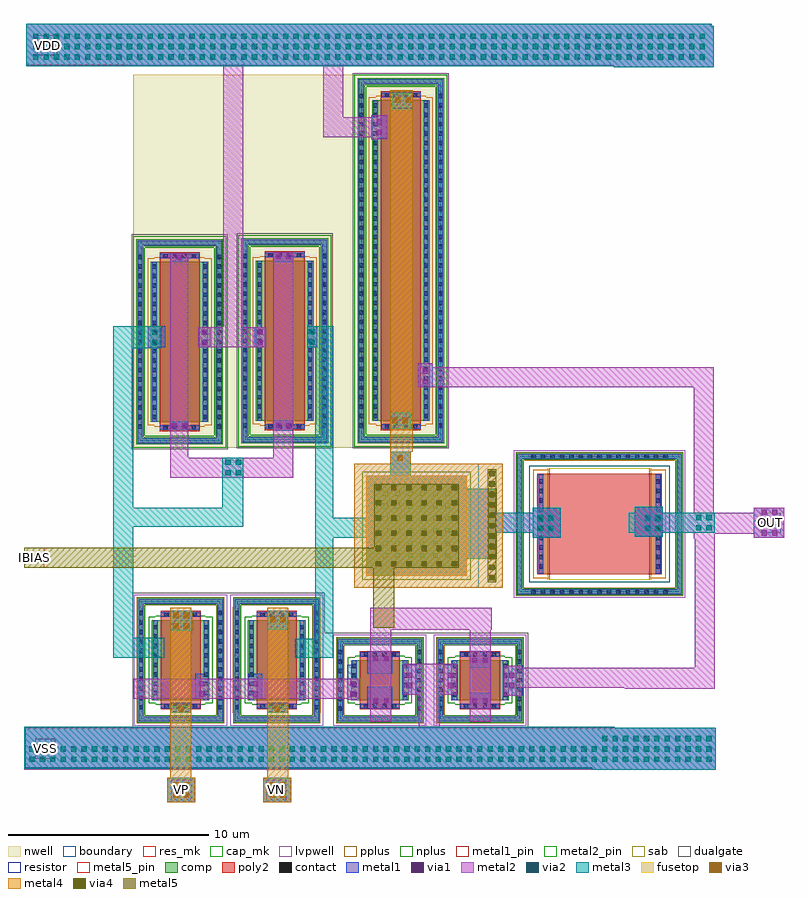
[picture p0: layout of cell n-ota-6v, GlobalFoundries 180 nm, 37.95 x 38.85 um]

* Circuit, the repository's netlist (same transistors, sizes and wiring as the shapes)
* NGSPICE file created from n-ota-6v.ext - technology: gf180mcuD

.subckt ppolyf_u_1k_5LKHFB a_n712_n834# a_n500_500# a_n500_n622#
X0 a_n500_500# a_n500_n622# a_n712_n834# ppolyf_u_1k r_width=5u r_length=5u
.ends

.subckt nfet_06v0_RPRB9G a_n432_n624# a_n288_n400# a_n200_n492# a_200_n400#
X0 a_200_n400# a_n200_n492# a_n288_n400# a_n432_n624# nfet_06v0 ad=1.76p pd=8.88u as=1.76p ps=8.88u w=4u l=2u
.ends

.subckt pfet_06v0_CJMVWK a_n288_n800# a_n200_n892# a_200_n800# w_n464_n1056#
X0 a_200_n800# a_n200_n892# a_n288_n800# w_n464_n1056# pfet_06v0 ad=3.52p pd=16.88u as=3.52p ps=16.88u w=8u l=2u
.ends

.subckt nfet_06v0_RPRB9L a_n288_n200# a_n200_n292# a_200_n200# a_n432_n424#
X0 a_200_n200# a_n200_n292# a_n288_n200# a_n432_n424# nfet_06v0 ad=0.88p pd=4.88u as=0.88p ps=4.88u w=2u l=2u
.ends

.subckt pfet_06v0_EQGVWK a_200_n1600# a_n288_n1600# a_n200_n1692# w_n464_n1856#
X0 a_200_n1600# a_n200_n1692# a_n288_n1600# w_n464_n1856# pfet_06v0 ad=7.04p pd=32.88u as=7.04p ps=32.88u w=16u l=2u
.ends

.subckt cap_mim_2p0fF_ZHL43H m4_n620_n500# m4_n740_n620#
X0 m4_n620_n500# m4_n740_n620# cap_mim_2f0_m4m5_noshield c_width=5u c_length=5u
.ends

.subckt n-ota-6v OUT VSS VDD VN VP IBIAS
XXR1 OUT m1_6210_1510# m1_5190_1500# ppolyf_u_1k_5LKHFB
XM1 OUT M1/a_n288_n400# m1_1570_570# m1_1820_n110# nfet_06v0_RPRB9G
XM2 OUT m1_1820_n110# m1_2540_580# M2/a_200_n400# nfet_06v0_RPRB9G
XM3 m1_1850_3400# m1_1570_2580# m1_2940_3400# w_1200_2400# pfet_06v0_CJMVWK
XM4 m1_1820_n110# m1_3540_n210# OUT OUT nfet_06v0_RPRB9L
XM5 m1_1350_3400# m1_1570_2580# m1_1850_3400# w_1200_2400# pfet_06v0_CJMVWK
XM6 OUT m1_3540_n210# OUT OUT nfet_06v0_RPRB9L
XM7 OUT m1_1850_3400# m1_3790_5790# w_1200_2400# pfet_06v0_EQGVWK
Xcap_mim_2p0fF_ZHL43H_0 IBIAS m2_2940_3400# cap_mim_2p0fF_ZHL43H
.ends

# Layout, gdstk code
from math import pi, radians
import gdstk
lib = gdstk.Library(unit=1e-6, precision=1e-09)
def R(c, l, rs):  # rectangles x0, y0, x1, y1
    for r in rs: c.add(gdstk.rectangle(r[:2], r[2:], *l))
def A(c, l, x, y, w, h, nx, ny, dx, dy):  # array of equal rectangles
    R(c, l, [(x+i*dx, y+j*dy, x+i*dx+w, y+j*dy+h) for i in range(nx) for j in range(ny)])
boundary = (0, 0)
nwell = (21, 0)
comp = (22, 0)
poly2 = (30, 0)
pplus = (31, 0)
nplus = (32, 0)
contact = (33, 0)
metal1 = (34, 0)
metal1_pin = (34, 10)
via1 = (35, 0)
metal2 = (36, 0)
metal2_pin = (36, 10)
via2 = (38, 0)
via3 = (40, 0)
via4 = (41, 0)
metal3 = (42, 0)
metal4 = (46, 0)
sab = (49, 0)
dualgate = (55, 0)
resistor = (62, 0)
fusetop = (75, 0)
metal5 = (81, 0)
metal5_pin = (81, 10)
res_mk = (110, 5)
cap_mk = (117, 5)
lvpwell = (204, 0)

nfet_06v0_rprb9g = lib.new_cell('nfet_06v0_RPRB9G')
R(nfet_06v0_rprb9g, boundary, [(-1.98,-2.94,1.98,2.94)])
R(nfet_06v0_rprb9g, comp, [(-2.16,-3.12,2.16,-2.76), (-2.16,-2.76,-1.8,2.76), (1.8,-2.76,2.16,2.76), (-1.44,-2,1.44,2), (-2.16,2.76,2.16,3.12)])
R(nfet_06v0_rprb9g, poly2, [(-1,-2.46,1,2.46)])
R(nfet_06v0_rprb9g, pplus, [(-2.18,-3.14,2.18,-2.74), (-2.18,-2.74,-1.77,-2.635), (1.77,-2.74,2.18,-2.635), (-2.19,-2.635,-1.77,2.635), (1.77,-2.635,2.19,2.635), (-2.18,2.635,-1.77,2.74), (1.77,2.635,2.18,2.74), (-2.18,2.74,2.18,3.14)])
R(nfet_06v0_rprb9g, nplus, [(-1.23,-2.23,1.23,-2.16), (-1.6,-2.16,1.6,2.16), (-1.23,2.16,1.23,2.23)])
A(nfet_06v0_rprb9g, contact, -2.09, -2.46, 0.22, 0.22, 1, 11, 0, 0.47)
A(nfet_06v0_rprb9g, contact, 1.87, -2.46, 0.22, 0.22, 1, 11, 0, 0.47)
A(nfet_06v0_rprb9g, contact, -0.815, -2.39, 0.22, 0.22, 4, 2, 0.47, 4.56)
A(nfet_06v0_rprb9g, contact, -1.37, -1.755, 0.22, 0.22, 1, 8, 0, 0.47)
A(nfet_06v0_rprb9g, contact, 1.15, -1.755, 0.22, 0.22, 1, 8, 0, 0.47)
R(nfet_06v0_rprb9g, metal1, [(-2.095,-3.055,2.095,-2.825), (-2.095,-2.825,-1.865,2.825), (1.865,-2.825,2.095,2.825), (-0.99,-2.395,0.99,-2.165), (-1.375,-1.99,-1.145,1.99), (1.145,-1.99,1.375,1.99), (-0.99,2.165,0.99,2.395), (-2.095,2.825,2.095,3.055)])
R(nfet_06v0_rprb9g, dualgate, [(-2.4,-3.36,2.4,3.36)])
R(nfet_06v0_rprb9g, lvpwell, [(-2.32,-3.28,2.32,3.28)])

pfet_06v0_cjmvwk = lib.new_cell('pfet_06v0_CJMVWK')
R(pfet_06v0_cjmvwk, boundary, [(-1.98,-4.94,1.98,4.94)])
R(pfet_06v0_cjmvwk, nwell, [(-2.32,-5.28,2.32,5.28)])
R(pfet_06v0_cjmvwk, comp, [(-2.16,-5.12,2.16,-4.76), (-2.16,-4.76,-1.8,4.76), (1.8,-4.76,2.16,4.76), (-1.44,-4,1.44,4), (-2.16,4.76,2.16,5.12)])
R(pfet_06v0_cjmvwk, poly2, [(-1,-4.46,1,4.46)])
R(pfet_06v0_cjmvwk, pplus, [(-1.23,-4.23,1.23,-4.16), (-1.6,-4.16,1.6,4.16), (-1.23,4.16,1.23,4.23)])
R(pfet_06v0_cjmvwk, nplus, [(-2.32,-5.28,2.32,-4.69), (-2.32,-4.69,-1.73,4.69), (1.73,-4.69,2.32,4.69), (-2.32,4.69,2.32,5.28)])
A(pfet_06v0_cjmvwk, contact, -0.815, -4.39, 0.22, 0.22, 4, 2, 0.47, 8.56)
A(pfet_06v0_cjmvwk, contact, -2.09, -4.34, 0.22, 0.22, 1, 19, 0, 0.47)
A(pfet_06v0_cjmvwk, contact, 1.87, -4.34, 0.22, 0.22, 1, 19, 0, 0.47)
A(pfet_06v0_cjmvwk, contact, -1.37, -3.87, 0.22, 0.22, 1, 17, 0, 0.47)
A(pfet_06v0_cjmvwk, contact, 1.15, -3.87, 0.22, 0.22, 1, 17, 0, 0.47)
R(pfet_06v0_cjmvwk, metal1, [(-2.095,-5.055,2.095,-4.825), (-2.095,-4.825,-1.865,4.825), (1.865,-4.825,2.095,4.825), (-0.99,-4.395,0.99,-4.165), (-1.375,-3.99,-1.145,3.99), (1.145,-3.99,1.375,3.99), (-0.99,4.165,0.99,4.395), (-2.095,4.825,2.095,5.055)])
R(pfet_06v0_cjmvwk, dualgate, [(-2.4,-5.36,2.4,5.36)])

cap_mim_2p0ff_zhl43h = lib.new_cell('cap_mim_2p0fF_ZHL43H')
R(cap_mim_2p0ff_zhl43h, boundary, [(-3.7,-3.1,2.5,3.1)])
A(cap_mim_2p0ff_zhl43h, via4, 3.04, -2.73, 0.26, 0.26, 1, 11, 0, 0.52)
A(cap_mim_2p0ff_zhl43h, via4, -2.63, -2.03, 0.26, 0.26, 6, 6, 0.76, 0.76)
R(cap_mim_2p0ff_zhl43h, metal4, [(-3.7,-3.1,3.7,3.1)])
R(cap_mim_2p0ff_zhl43h, fusetop, [(-3.1,-2.5,1.9,2.5)])
R(cap_mim_2p0ff_zhl43h, metal5, [(2.95,-2.815,3.39,2.815), (-2.7,-2.1,1.5,2.1)])
R(cap_mim_2p0ff_zhl43h, cap_mk, [(-3.3,-2.7,2.1,2.7)])

nfet_06v0_rprb9l = lib.new_cell('nfet_06v0_RPRB9L')
R(nfet_06v0_rprb9l, boundary, [(-1.98,-1.94,1.98,1.94)])
R(nfet_06v0_rprb9l, comp, [(-2.16,-2.12,2.16,-1.76), (-2.16,-1.76,-1.8,1.76), (1.8,-1.76,2.16,1.76), (-1.44,-1,1.44,1), (-2.16,1.76,2.16,2.12)])
R(nfet_06v0_rprb9l, poly2, [(-1,-1.46,1,1.46)])
R(nfet_06v0_rprb9l, pplus, [(-2.18,-2.14,2.18,-1.74), (-2.18,-1.74,-1.77,-1.635), (1.77,-1.74,2.18,-1.635), (-2.19,-1.635,-1.77,1.635), (1.77,-1.635,2.19,1.635), (-2.18,1.635,-1.77,1.74), (1.77,1.635,2.18,1.74), (-2.18,1.74,2.18,2.14)])
R(nfet_06v0_rprb9l, nplus, [(-1.23,-1.23,1.23,-1.16), (-1.6,-1.16,1.6,1.16), (-1.23,1.16,1.23,1.23)])
A(nfet_06v0_rprb9l, contact, -2.09, -1.52, 0.22, 0.22, 1, 7, 0, 0.47)
A(nfet_06v0_rprb9l, contact, 1.87, -1.52, 0.22, 0.22, 1, 7, 0, 0.47)
A(nfet_06v0_rprb9l, contact, -0.815, -1.39, 0.22, 0.22, 4, 2, 0.47, 2.56)
A(nfet_06v0_rprb9l, contact, -1.37, -0.815, 0.22, 0.22, 1, 4, 0, 0.47)
A(nfet_06v0_rprb9l, contact, 1.15, -0.815, 0.22, 0.22, 1, 4, 0, 0.47)
R(nfet_06v0_rprb9l, metal1, [(-2.095,-2.055,2.095,-1.825), (-2.095,-1.825,-1.865,1.825), (1.865,-1.825,2.095,1.825), (-0.99,-1.395,0.99,-1.165), (-1.375,-0.99,-1.145,0.99), (1.145,-0.99,1.375,0.99), (-0.99,1.165,0.99,1.395), (-2.095,1.825,2.095,2.055)])
R(nfet_06v0_rprb9l, dualgate, [(-2.4,-2.36,2.4,2.36)])
R(nfet_06v0_rprb9l, lvpwell, [(-2.32,-2.28,2.32,2.28)])

pfet_06v0_eqgvwk = lib.new_cell('pfet_06v0_EQGVWK')
R(pfet_06v0_eqgvwk, boundary, [(-1.98,-8.94,1.98,8.94)])
R(pfet_06v0_eqgvwk, nwell, [(-2.32,-9.28,2.32,9.28)])
R(pfet_06v0_eqgvwk, comp, [(-2.16,-9.12,2.16,-8.76), (-2.16,-8.76,-1.8,8.76), (1.8,-8.76,2.16,8.76), (-1.44,-8,1.44,8), (-2.16,8.76,2.16,9.12)])
R(pfet_06v0_eqgvwk, poly2, [(-1,-8.46,1,8.46)])
R(pfet_06v0_eqgvwk, pplus, [(-1.23,-8.23,1.23,-8.16), (-1.6,-8.16,1.6,8.16), (-1.23,8.16,1.23,8.23)])
R(pfet_06v0_eqgvwk, nplus, [(-2.32,-9.28,2.32,-8.69), (-2.32,-8.69,-1.73,8.69), (1.73,-8.69,2.32,8.69), (-2.32,8.69,2.32,9.28)])
A(pfet_06v0_eqgvwk, contact, -0.815, -8.39, 0.22, 0.22, 4, 2, 0.47, 16.56)
A(pfet_06v0_eqgvwk, contact, -2.09, -8.335, 0.22, 0.22, 1, 36, 0, 0.47)
A(pfet_06v0_eqgvwk, contact, 1.87, -8.335, 0.22, 0.22, 1, 36, 0, 0.47)
A(pfet_06v0_eqgvwk, contact, -1.37, -7.865, 0.22, 0.22, 1, 34, 0, 0.47)
A(pfet_06v0_eqgvwk, contact, 1.15, -7.865, 0.22, 0.22, 1, 34, 0, 0.47)
R(pfet_06v0_eqgvwk, metal1, [(-2.095,-9.055,2.095,-8.825), (-2.095,-8.825,-1.865,8.825), (1.865,-8.825,2.095,8.825), (-0.99,-8.395,0.99,-8.165), (-1.375,-7.99,-1.145,7.99), (1.145,-7.99,1.375,7.99), (-0.99,8.165,0.99,8.395), (-2.095,8.825,2.095,9.055)])
R(pfet_06v0_eqgvwk, dualgate, [(-2.4,-9.36,2.4,9.36)])

ppolyf_u_1k_5lkhfb = lib.new_cell('ppolyf_u_1k_5LKHFB')
R(ppolyf_u_1k_5lkhfb, boundary, [(-3.38,-3.99,3.38,3.99)])
R(ppolyf_u_1k_5lkhfb, comp, [(-3.56,-4.17,3.56,-3.81), (-3.56,-3.81,-3.2,3.81), (3.2,-3.81,3.56,3.81), (-3.56,3.81,3.56,4.17)])
R(ppolyf_u_1k_5lkhfb, poly2, [(-2.5,-3.11,2.5,3.11)])
R(ppolyf_u_1k_5lkhfb, pplus, [(-3.58,-4.19,3.58,-3.79), (-3.58,-3.79,-3.17,-3.685), (3.17,-3.79,3.58,-3.685), (-3.59,-3.685,-3.17,3.685), (3.17,-3.685,3.59,3.685), (-2.7,-3.31,2.7,-2.5), (-2.7,2.5,2.7,3.31), (-3.58,3.685,-3.17,3.79), (3.17,3.685,3.58,3.79), (-3.58,3.79,3.58,4.19)])
A(ppolyf_u_1k_5lkhfb, contact, -3.49, -3.4, 0.22, 0.22, 1, 15, 0, 0.47)
A(ppolyf_u_1k_5lkhfb, contact, 3.27, -3.4, 0.22, 0.22, 1, 15, 0, 0.47)
A(ppolyf_u_1k_5lkhfb, contact, -2.225, -3.04, 0.22, 0.22, 10, 2, 0.47, 5.86)
R(ppolyf_u_1k_5lkhfb, metal1, [(-3.495,-4.105,3.495,-3.875), (-3.495,-3.875,-3.265,3.875), (3.265,-3.875,3.495,3.875), (-2.49,-3.045,2.49,-2.815), (-2.49,2.815,2.49,3.045), (-3.495,3.875,3.495,4.105)])
R(ppolyf_u_1k_5lkhfb, sab, [(-2.78,-2.6,2.78,2.6), (-2.78,-2.5,2.78,2.5)])
R(ppolyf_u_1k_5lkhfb, resistor, [(-2.9,-3.51,2.9,3.51)])
R(ppolyf_u_1k_5lkhfb, res_mk, [(-2.78,-2.5,2.78,2.5), (-2.5,-2.5,2.5,2.5)])
R(ppolyf_u_1k_5lkhfb, lvpwell, [(-3.68,-4.29,3.68,4.29)])

n_ota_6v = lib.new_cell('n-ota-6v')
R(n_ota_6v, nwell, [(6,12,21.69,30.61)])
R(n_ota_6v, metal1, [(7.7,-5.7,9.1,-4.5), (12.5,-5.7,13.9,-4.5), (28.95,-4.1,35.1,-4), (0.6,-4,35.1,-2), (7.85,-1.2,8.9,-0.75), (12.7,-1.2,13.75,-0.75), (17.7,-1.05,18.95,0.05), (22.8,-1.05,23.85,-0.25), (16.7,-0.6,17,-0.55), (9.1,-0.55,9.75,0.7), (11.75,-0.55,12.45,0.7), (16.7,-0.55,17.3,0.45), (24.5,-0.4,25.45,1.1), (19.45,-0.35,20.4,1.15), (21.25,-0.35,22.2,1.15), (16.7,0.45,17.15,1.15), (17.7,0.7,18.95,1.8), (22.8,1,23.85,1.8), (7.85,2.85,8.95,3.85), (12.7,2.9,13.75,3.85), (17.65,5.6,22.65,10.6), (25.95,7.5,27.35,9), (37,7.5,38.5,9), (31.05,7.55,32.45,9.05), (18.85,10.6,19.85,11.8), (13,12.85,14,13.35), (7.85,12.9,8.75,13.3), (18.85,12.95,19.85,13.75), (20.2,15,20.95,16.2), (6.75,17,7.6,18.05), (9.25,17,9.85,18), (12.05,17,12.65,18), (14.7,17,15.2,18.05), (13,21.25,14,21.75), (7.85,21.3,8.75,21.7), (17.9,27.45,18.7,28.6), (18.95,28.95,19.95,29.75), (30,31,35,31.1), (0.65,31.1,35,33.05), (0.65,33.05,34.9,33.15)])
R(n_ota_6v, metal1_pin, [(7.9,-5.6,8.9,-4.6), (12.65,-5.6,13.65,-4.6), (1.1,-3.55,2.1,-2.55), (1.2,31.6,2.2,32.6)])
A(n_ota_6v, via1, 37.385, 7.6, 0.26, 0.26, 1, 3, 0, 0.52)
A(n_ota_6v, via1, 37.905, 7.6, 0.26, 0.26, 1, 3, 0, 0.52)
R(n_ota_6v, via1, [(17.985,-0.78,18.245,-0.52), (18.505,-0.78,18.765,-0.52), (22.935,-0.78,23.195,-0.52), (23.455,-0.78,23.715,-0.52), (9.295,-0.44,9.555,-0.18), (11.995,-0.44,12.255,-0.18), (16.845,-0.44,17.105,-0.18), (19.67,-0.015,19.93,0.245), (21.72,-0.015,21.98,0.245), (24.77,-0.015,25.03,0.245), (9.295,0.08,9.555,0.34), (11.995,0.08,12.255,0.34), (16.845,0.08,17.105,0.34), (19.67,0.505,19.93,0.765), (21.72,0.505,21.98,0.765), (24.77,0.505,25.03,0.765), (22.935,1.245,23.195,1.505), (23.455,1.245,23.715,1.505), (17.985,1.32,18.245,1.58), (18.505,1.32,18.765,1.58), (7.91,12.945,8.17,13.205), (8.43,12.945,8.69,13.205), (13.11,12.97,13.37,13.23), (13.63,12.97,13.89,13.23), (20.47,15.16,20.73,15.42), (20.47,15.68,20.73,15.94), (9.42,17.11,9.68,17.37), (12.22,17.11,12.48,17.37), (9.42,17.63,9.68,17.89), (12.22,17.63,12.48,17.89), (8.17,21.37,8.43,21.63), (13.11,21.395,13.37,21.655), (13.63,21.395,13.89,21.655), (18.17,27.61,18.43,27.87), (18.17,28.13,18.43,28.39)])
R(n_ota_6v, metal2, [(7.7,-5.7,9.1,-4.5), (12.5,-5.7,13.9,-4.5), (0.55,-4.1,35.1,-2), (20.25,-2,21.3,-0.35), (17.85,-1.7,18.9,2.9), (22.8,-1.7,23.85,2.9), (7.85,-1.25,8.9,-0.9), (12.7,-1.25,13.75,-0.9), (16.7,-0.6,17.15,-0.55), (6,-0.55,17.3,0.45), (24.5,-0.4,25.4,0), (19.5,-0.35,22.15,1.2), (30.55,-0.05,35.05,0), (24.5,0,35.05,1), (24.5,1,25.4,1.1), (34.05,1,35.05,7.45), (7.85,2.85,8.95,3.85), (12.7,2.9,13.75,3.85), (17.85,2.9,23.9,4), (17.65,5.6,22.65,6.45), (17.65,6.45,24.15,7.75), (34,7.45,35.05,7.7), (25.95,7.5,27.35,7.75), (37,7.5,38.5,7.7), (31.05,7.55,32.45,7.75), (34,7.7,38.5,7.75), (17.65,7.75,27.35,8.75), (30.75,7.75,38.5,8.75), (17.65,8.75,24.15,9.95), (25.95,8.75,27.35,9), (31.05,8.75,32.45,9.05), (34,8.75,35,15), (37,8.75,38.5,9), (17.65,9.95,22.65,10.6), (7.85,10.5,14,11.5), (18.85,10.6,19.85,11.8), (7.85,11.5,8.75,21.7), (13,11.5,14,21.75), (18.85,12.95,19.85,13.75), (20.2,15,35,16), (20.2,16,20.95,16.2), (6.75,16.95,7.4,18.05), (9.25,17,12.65,18), (14.7,17,15.2,18.05), (10.5,18,11.5,31.05), (17.9,27.4,18.7,27.5), (15.5,27.5,18.7,28.5), (15.5,28.5,16.5,31.05), (17.9,28.5,18.7,28.6), (18.95,28.9,19.95,29.7), (30,31,35,31.05), (5.7,31.05,35,31.1), (0.65,31.1,35,33.05), (0.65,33.05,34.9,33.15)])
R(n_ota_6v, metal2_pin, [(37.35,7.75,38.35,8.75)])
A(n_ota_6v, via2, 0.82, -3.7, 0.26, 0.26, 66, 2, 0.52, 0.52)
A(n_ota_6v, via2, 29.42, -2.66, 0.26, 0.26, 11, 1, 0.52, 0)
A(n_ota_6v, via2, 18.47, 6.47, 0.26, 0.26, 6, 6, 0.62, 0.62)
A(n_ota_6v, via2, 1.005, 31.375, 0.26, 0.26, 65, 3, 0.52, 0.52)
R(n_ota_6v, via2, [(26.21,7.835,26.47,8.095), (26.73,7.835,26.99,8.095), (31.56,7.835,31.82,8.095), (32.08,7.835,32.34,8.095), (34.11,7.86,34.37,8.12), (34.63,7.86,34.89,8.12), (26.21,8.355,26.47,8.615), (26.73,8.355,26.99,8.615), (31.56,8.355,31.82,8.615), (32.08,8.355,32.34,8.615), (34.11,8.38,34.37,8.64), (34.63,8.38,34.89,8.64), (10.61,10.61,10.87,10.87), (11.13,10.61,11.39,10.87), (10.61,11.13,10.87,11.39), (11.13,11.13,11.39,11.39), (6.945,17.11,7.205,17.37), (14.82,17.135,15.08,17.395), (6.945,17.63,7.205,17.89), (14.82,17.655,15.08,17.915)])
R(n_ota_6v, via3, [(8.01,-5.49,8.27,-5.23), (8.53,-5.49,8.79,-5.23), (12.81,-5.49,13.07,-5.23), (13.33,-5.49,13.59,-5.23), (8.01,-4.97,8.27,-4.71), (8.53,-4.97,8.79,-4.71), (12.81,-4.97,13.07,-4.71), (13.33,-4.97,13.59,-4.71), (8.27,-1.18,8.53,-0.92), (13.07,-1.18,13.33,-0.92), (8.01,2.96,8.27,3.22), (8.53,2.96,8.79,3.22), (12.835,3.27,13.095,3.53), (13.355,3.27,13.615,3.53), (8.01,3.48,8.27,3.74), (8.53,3.48,8.79,3.74), (19.195,11.345,19.455,11.605), (18.935,13.22,19.195,13.48), (19.455,13.22,19.715,13.48), (19.085,29.22,19.345,29.48), (19.605,29.22,19.865,29.48)])
R(n_ota_6v, metal3, [(7.7,-5.7,9.1,-4.5), (12.5,-5.7,13.9,-4.5), (28.95,-4.1,35.1,-4.05), (0.55,-4.05,35.1,-2), (0.55,-2,30.05,-1.95), (7.85,-1.25,8.9,-0.9), (12.7,-1.25,13.75,-0.9), (5,1.5,7.55,2.5), (14.1,1.5,16,2.45), (15.1,2.45,16,7.5), (5,2.5,6,8.05), (7.85,2.85,8.95,3.85), (12.7,2.9,13.75,3.85), (17.65,5.6,22.65,6.45), (17.65,6.45,24.15,7.5), (15.1,7.5,24.15,7.75), (25.95,7.5,27.35,7.75), (31.05,7.55,32.45,7.75), (15.1,7.75,27.35,8.5), (30.75,7.75,35.05,8.75), (5,8.05,11.5,9), (15.1,8.5,16,17), (17.65,8.5,27.35,8.75), (17.65,8.75,24.15,9.95), (25.95,8.75,27.35,9), (31.05,8.75,32.45,9.05), (5,9,6,16.95), (10.45,9,11.5,11.5), (17.65,9.95,22.65,10.6), (18.85,10.6,19.85,11.8), (18.85,12.95,19.85,13.75), (5,16.95,7.4,18.05), (14.7,17,16,18.05), (18.95,28.9,19.95,29.7), (30,31,35,31.05), (0.65,31.05,35,33.05), (0.65,33.05,34.9,33.15)])
R(n_ota_6v, metal4, [(7.7,-5.7,9.1,-4.5), (12.5,-5.7,13.9,-4.5), (7.85,-4.5,8.9,2.85), (12.7,-4.5,13.75,4), (7.85,2.85,8.95,3.85), (7.85,3.85,8.9,4), (17.65,5.6,22.65,11), (18.85,11,19.85,11.8), (18.85,11.8,19.95,29.85)])
R(n_ota_6v, dualgate, [(15.57,-1.98,15.92,2.74), (20.72,-1.98,20.92,2.74)])
R(n_ota_6v, metal5, [(18,3,19.05,6), (0.55,6,19.05,7)])
R(n_ota_6v, metal5_pin, [(0.55,6,1.55,7)])
n_ota_6v.add(gdstk.Reference(nfet_06v0_rprb9g, (8.37,1.38)))
n_ota_6v.add(gdstk.Reference(nfet_06v0_rprb9g, (13.17,1.38)))
n_ota_6v.add(gdstk.Reference(pfet_06v0_cjmvwk, (8.32,17.28)))
n_ota_6v.add(gdstk.Reference(cap_mim_2p0ff_zhl43h, (20.75,8.1)))
n_ota_6v.add(gdstk.Reference(pfet_06v0_cjmvwk, (13.57,17.33)))
n_ota_6v.add(gdstk.Reference(nfet_06v0_rprb9l, (18.32,0.38)))
n_ota_6v.add(gdstk.Reference(pfet_06v0_eqgvwk, (19.37,21.33)))
n_ota_6v.add(gdstk.Reference(nfet_06v0_rprb9l, (23.32,0.38)))
n_ota_6v.add(gdstk.Reference(ppolyf_u_1k_5lkhfb, (29.29,8.18), rotation=3*pi/2))
n_ota_6v.add(gdstk.Label('OUT', (37.85,8.25), layer=34, texttype=10))
n_ota_6v.add(gdstk.Label('VSS', (1.6,-3.05), layer=34, texttype=10))
n_ota_6v.add(gdstk.Label('VDD', (1.7,32.1), layer=34, texttype=10))
n_ota_6v.add(gdstk.Label('VN', (13.15,-5.1), layer=34, texttype=10))
n_ota_6v.add(gdstk.Label('VP', (8.4,-5.1), layer=34, texttype=10))
n_ota_6v.add(gdstk.Label('IBIAS', (1.05,6.5), layer=81, texttype=10))

lib.write_gds('n-ota-6v.gds')
